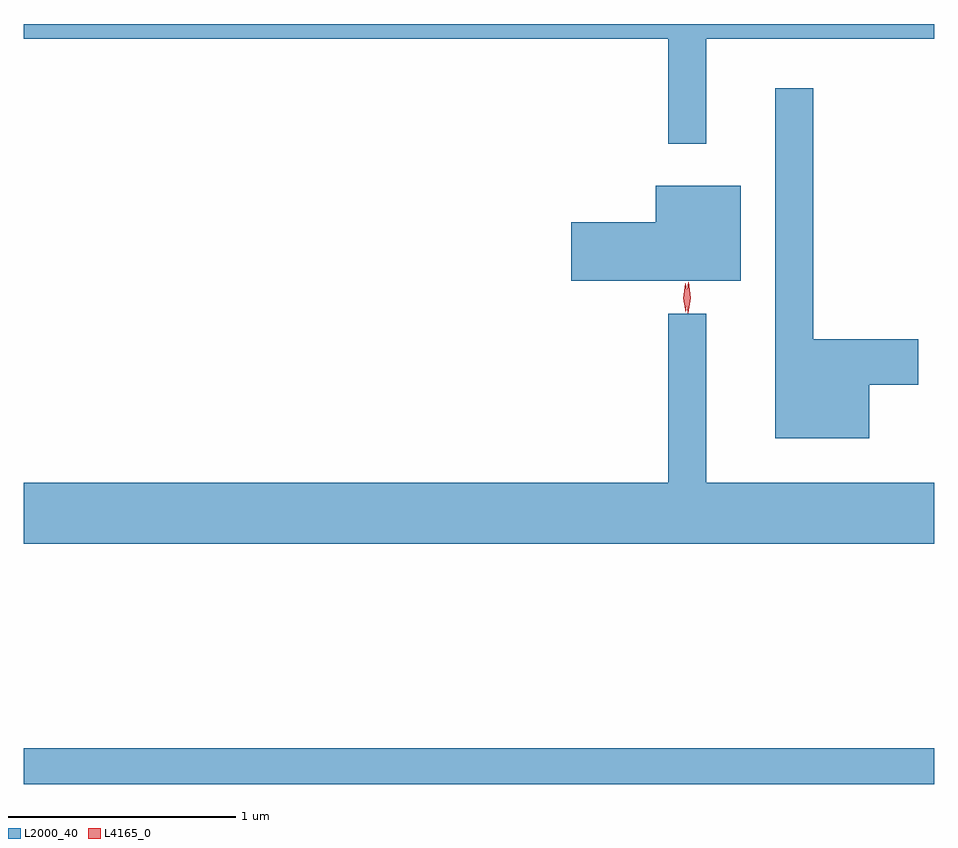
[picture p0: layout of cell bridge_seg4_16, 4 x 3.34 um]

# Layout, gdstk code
import gdstk
lib = gdstk.Library(unit=1e-6, precision=1e-09)
def R(c, l, rs):  # rectangles x0, y0, x1, y1
    for r in rs: c.add(gdstk.rectangle(r[:2], r[2:], *l))
def P(c, l, *ps):  # polygons
    for p in ps: c.add(gdstk.Polygon(p, *l))
L2000_40 = (2000, 40)
L4165_0 = (4165, 0)

bridge_seg4_16 = lib.new_cell('bridge_seg4_16')
R(bridge_seg4_16, L2000_40, [(1255.18,1331.421,1259.18,1331.579)])
P(bridge_seg4_16, L2000_40, [(1258.179,1334.696),(1259.18,1334.696),(1259.18,1334.76),(1255.18,1334.76),(1255.18,1334.696),(1258.011,1334.696),(1258.011,1334.233),(1258.179,1334.233)],
  [(1258.894,1333.176),(1259.109,1333.176),(1259.109,1333.374),(1258.649,1333.374),(1258.649,1334.478),(1258.481,1334.478),(1258.481,1332.941),(1258.894,1332.941)],
  [(1258.329,1334.049),(1257.956,1334.049),(1257.956,1333.889),(1257.586,1333.889),(1257.586,1333.631),(1258.329,1333.631)],
  [(1259.18,1332.744),(1258.179,1332.744),(1258.179,1333.488),(1258.011,1333.488),(1258.011,1332.744),(1255.18,1332.744),(1255.18,1332.476),(1259.18,1332.476)])
P(bridge_seg4_16, L4165_0, [(1258.098,1333.49),(1258.09,1333.558),(1258.1,1333.626),(1258.1,1333.626),(1258.101,1333.626),(1258.11,1333.558),(1258.1,1333.49),(1258.099,1333.49)],
  [(1258.089,1333.493),(1258.088,1333.494),(1258.078,1333.556),(1258.087,1333.619),(1258.087,1333.62),(1258.088,1333.619),(1258.098,1333.556),(1258.089,1333.494)])

lib.write_gds('bridge_seg4_16.gds')
